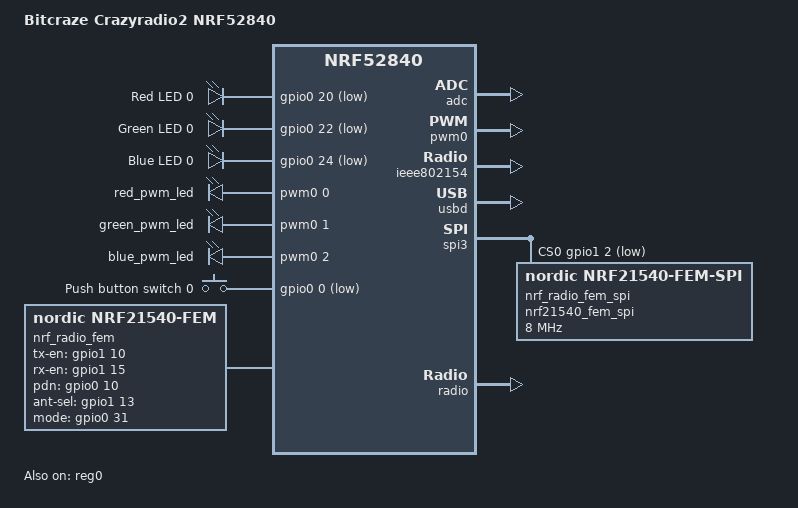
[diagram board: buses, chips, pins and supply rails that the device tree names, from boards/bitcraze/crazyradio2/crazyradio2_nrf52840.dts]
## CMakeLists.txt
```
cmake_minimum_required(VERSION 3.20.0)

list(APPEND BOARD_ROOT ${CMAKE_CURRENT_SOURCE_DIR}/)

find_package(Zephyr REQUIRED HINTS $ENV{ZEPHYR_BASE})
project(crazyradio2)

target_sources(app PRIVATE src/main.c src/esb.c src/led.c src/fem.c src/system.c src/legacy_usb.c)
```

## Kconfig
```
menu "Crazyradio 2.0 firmware"

config ESB_ACK_LOSS_PERCENT
   int "Percent of generated ack loss, between 0 and 100"
   range 0 100
   default 0

config TARGET_UF2_BOOTLOADER
   bool "Build U2F file and set proper linker setting to work with the UF2 bootloader"
   default false
   select BUILD_OUTPUT_UF2

config FLASH_LOAD_OFFSET
   default 0x27000 if TARGET_UF2_BOOTLOADER && SOC_NRF52833_QIAA
   default 0x26000 if TARGET_UF2_BOOTLOADER && SOC_NRF52840_QIAA

config USE_DCDC
   bool
   depends on SOC_DCDC_NRF52X

config LEGACY_USB_PROTOCOL
   bool "Use legacy, Crazyradio (PA), USB protocol"
   default y

config USB_DEVICE_VID
   default 0x1915 if LEGACY_USB_PROTOCOL
   default 0x35F0 if !LEGACY_USB_PROTOCOL

config USB_DEVICE_PID
   default 0x7777 if LEGACY_USB_PROTOCOL
   default 0xad20 if !LEGACU_USB_PROTOCOL

endmenu

source "Kconfig.zephyr"
```

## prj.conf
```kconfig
CONFIG_KERNEL_BIN_NAME="crazyradio2"

# Timers and ppi used by the radio
CONFIG_NRFX_PPI=y
CONFIG_NRFX_TIMER0=y
CONFIG_NRFX_TIMER1=y

# USB config
CONFIG_USB_DEVICE_STACK=y
CONFIG_USB_DEVICE_MANUFACTURER="Bitcraze AB"
CONFIG_USB_DEVICE_PRODUCT="Crazyradio 2.0"

# Log configuration
CONFIG_STDOUT_CONSOLE=y
CONFIG_LOG=y
CONFIG_LOG_DEFAULT_LEVEL=1
CONFIG_LOG_MAX_LEVEL=4
CONFIG_USB_DRIVER_LOG_LEVEL_ERR=y
CONFIG_USB_DEVICE_LOG_LEVEL_ERR=y

# RNG config
CONFIG_ENTROPY_GENERATOR=y
# CONFIG_XOROSHIRO_RANDOM_GENERATOR=y

CONFIG_CONSOLE=y

CONFIG_UART_CONSOLE=n
CONFIG_RTT_CONSOLE=y
CONFIG_USE_SEGGER_RTT=y

CONFIG_TARGET_UF2_BOOTLOADER=y

CONFIG_ADC=y
```

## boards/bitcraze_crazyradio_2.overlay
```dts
/*
 * SPDX-License-Identifier: Apache-2.0
 *
 * Copyright (c) 2022 Nordic Semiconductor ASA
 * Copyright (c) 2023 Bitcraze AB
 */


 / {
	zephyr,user {
		io-channels = <&adc 0>, <&adc 1>;
	};

	aliases {
		// io1 = &io1;
		io2 = &io2;
		io3 = &io3;
	};

	ios {
		compatible = "gpio-leds";
		// io1: io_1 {
		// 	gpios = <&gpio0 4 GPIO_ACTIVE_HIGH>;
		// 	label = "IO1";
		// };
		io2: io_2 {
			gpios = <&gpio0 26 GPIO_ACTIVE_HIGH>;
			label = "IO2";
		};
		io3: io_3 {
			gpios = <&gpio0 8 GPIO_ACTIVE_HIGH>;
			label = "IO3";
		};
	};
};

&adc {
	#address-cells = <1>;
	#size-cells = <0>;

	channel@0 {
		reg = <0>;
		zephyr,gain = "ADC_GAIN_1_6";
		zephyr,reference = "ADC_REF_INTERNAL";
		zephyr,acquisition-time = <ADC_ACQ_TIME_DEFAULT>;
		zephyr,input-positive = <NRF_SAADC_VDD>;
		zephyr,resolution = <14>;
		zephyr,oversampling = <8>;
	};

	channel@1 {
		reg = <1>;
		zephyr,gain = "ADC_GAIN_1_6";
		zephyr,reference = "ADC_REF_INTERNAL";
		zephyr,acquisition-time = <ADC_ACQ_TIME_DEFAULT>;
		zephyr,input-positive = <NRF_SAADC_AIN2>;  // P0.04
		zephyr,resolution = <14>;
		zephyr,oversampling = <8>;
	};
};
```

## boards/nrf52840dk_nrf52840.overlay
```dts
/*
 * SPDX-License-Identifier: Apache-2.0
 *
 * Copyright (c) 2022 Nordic Semiconductor ASA
 * Copyright (c) 2023 Bitcraze AB
 */


 / {
	zephyr,user {
		io-channels = <&adc 0>;
	};
};

&adc {
	#address-cells = <1>;
	#size-cells = <0>;

	channel@0 {
		reg = <0>;
		zephyr,gain = "ADC_GAIN_1_6";
		zephyr,reference = "ADC_REF_INTERNAL";
		zephyr,acquisition-time = <ADC_ACQ_TIME_DEFAULT>;
		zephyr,input-positive = <NRF_SAADC_VDD>;
		zephyr,resolution = <14>;
		zephyr,oversampling = <8>;
	};
};
```

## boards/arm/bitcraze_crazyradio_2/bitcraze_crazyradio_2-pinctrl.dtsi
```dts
/*
 * Copyright (c) 2022 Bitcraze AB
 * Copyright (c) 2022 Nordic Semiconductor
 * SPDX-License-Identifier: Apache-2.0
 */

&pinctrl {
	uart0_default: uart0_default {
		group1 {
			psels = <NRF_PSEL(UART_TX, 0, 4)>;
		};
		group2 {
			psels = <NRF_PSEL(UART_RX, 0, 26)>;
			bias-pull-up;
		};
	};

	uart0_sleep: uart0_sleep {
		group1 {
			psels = <NRF_PSEL(UART_TX, 0, 4)>,
				<NRF_PSEL(UART_RX, 0, 8)>;
			low-power-enable;
		};
	};

	spi3_default: spi3_default {
		group1 {
			psels = <NRF_PSEL(SPIM_SCK, 0, 9)>,
				<NRF_PSEL(SPIM_MISO, 1, 4)>,
				<NRF_PSEL(SPIM_MOSI, 1, 6)>;
		};
	};

	spi3_sleep: spi3_sleep {
		group1 {
			psels = <NRF_PSEL(SPIM_SCK, 0, 9)>,
				<NRF_PSEL(SPIM_MISO, 1, 4)>,
				<NRF_PSEL(SPIM_MOSI, 1, 6)>;
			low-power-enable;
		};
	};

};
```

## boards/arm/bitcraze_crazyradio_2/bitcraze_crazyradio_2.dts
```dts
/*
 * Copyright (c) 2022 Bitcraze AB
 * Copyright (c) 2020 Nordic Semiconductor ASA
 * Copyright (c) 2017 Linaro Limited
 *
 * SPDX-License-Identifier: Apache-2.0
 */

/dts-v1/;
#include <nordic/nrf52840_qiaa.dtsi>
#include "bitcraze_crazyradio_2-pinctrl.dtsi"

/ {
	model = "Bitcraze Crazyradio 2.0";
	compatible = "nordic,bitcraze_crazyradio_2";

	chosen {
		zephyr,console = &uart0;
		zephyr,shell-uart = &uart0;
		zephyr,uart-mcumgr = &uart0;
		zephyr,bt-mon-uart = &uart0;
		zephyr,bt-c2h-uart = &uart0;
		zephyr,sram = &sram0;
		zephyr,flash = &flash0;
		zephyr,code-partition = &slot0_partition;
		zephyr,ieee802154 = &ieee802154;
	};

	leds {
		compatible = "gpio-leds";
		led0: led_0 {
			gpios = <&gpio0 20 GPIO_ACTIVE_LOW>;
			label = "Red LED";
		};
		led1: led_1 {
			gpios = <&gpio0 22 GPIO_ACTIVE_LOW>;
			label = "Green LED";
		};
		led2: led_2 {
			gpios = <&gpio0 24 GPIO_ACTIVE_LOW>;
			label = "Blue LED";
		};
	};

	buttons {
		compatible = "gpio-keys";
		button0: button_0 {
			gpios = <&gpio0 0 (GPIO_PULL_UP | GPIO_ACTIVE_LOW)>;
			label = "Push button switch 0";
		};
	};

	nrf_radio_fem: nrf21540_fem {
		compatible = "nordic,nrf21540-fem";
		tx-en-gpios = <&gpio1 10 GPIO_ACTIVE_HIGH>;
		rx-en-gpios = <&gpio1 15 GPIO_ACTIVE_HIGH>;
		pdn-gpios = <&gpio0 10 GPIO_ACTIVE_HIGH>;
		ant-sel-gpios = <&gpio1 13 GPIO_ACTIVE_HIGH>;
		mode-gpios = <&gpio0 31 GPIO_ACTIVE_HIGH>;
		spi-if = <&nrf_radio_fem_spi>;
	};

	/* These aliases are provided for compatibility with samples */
	aliases {
		led0 = &led0;
		led1 = &led1;
		led2 = &led2;
		sw0 = &button0;
		bootloader-led0 = &led0;
		mcuboot-button0 = &button0;
		mcuboot-led0 = &led0;
		watchdog0 = &wdt0;
	};
};

&gpiote {
	status = "okay";
};

&gpio0 {
	status = "okay";
};

&gpio1 {
	status = "okay";
};

&uart0 {
	compatible = "nordic,nrf-uarte";
	// status = "okay";
	current-speed = <115200>;
	pinctrl-0 = <&uart0_default>;
	pinctrl-1 = <&uart0_sleep>;
	pinctrl-names = "default", "sleep";
};

fem_spi: &spi3 {
	status = "okay";
	cs-gpios = <&gpio1 2 GPIO_ACTIVE_LOW>;

	pinctrl-0 = <&spi3_default>;
	pinctrl-1 = <&spi3_sleep>;
	pinctrl-names = "default", "sleep";
	nrf_radio_fem_spi: nrf21540_fem_spi@0 {
		compatible = "nordic,nrf21540-fem-spi";
		status = "okay";
		reg = <0>;
		spi-max-frequency = <125000>;
	};
};

&radio {
	fem = <&nrf_radio_fem>;
};

&ieee802154 {
	status = "okay";
};

&flash0 {

	partitions {
		compatible = "fixed-partitions";
		#address-cells = <1>;
		#size-cells = <1>;

		boot_partition: partition@0 {
			label = "mcuboot";
			reg = <0x00000000 0x0000C000>;
		};
		slot0_partition: partition@c000 {
			label = "image-0";
			reg = <0x0000C000 0x00067000>;
		};
		slot1_partition: partition@73000 {
			label = "image-1";
			reg = <0x00073000 0x00067000>;
		};
		scratch_partition: partition@da000 {
			label = "image-scratch";
			reg = <0x000da000 0x0001e000>;
		};

		/*
		 * The flash starting at 0x000f8000 and ending at
		 * 0x000fffff is reserved for use by the application.
		 */

		/*
		 * Storage partition will be used by FCB/LittleFS/NVS
		 * if enabled.
		 */
		storage_partition: partition@f8000 {
			label = "storage";
			reg = <0x000f8000 0x00008000>;
		};
	};
};

zephyr_udc0: &usbd {
	compatible = "nordic,nrf-usbd";
	status = "okay";
};

&adc {
	status = "okay";
};
```

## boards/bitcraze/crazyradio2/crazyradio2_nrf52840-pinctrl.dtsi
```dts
/*
 * Copyright (c) 2025 Bitcraze AB
 *
 * SPDX-License-Identifier: Apache-2.0
 */

&pinctrl {
	pwm0_default: pwm0_default {
		group1 {
			psels = <NRF_PSEL(PWM_OUT0, 0, 20)>,
				<NRF_PSEL(PWM_OUT1, 0, 22)>,
				<NRF_PSEL(PWM_OUT2, 0, 24)>;
			nordic,invert;
		};
	};

	pwm0_sleep: pwm0_sleep {
		group1 {
			psels = <NRF_PSEL(PWM_OUT0, 0, 20)>,
				<NRF_PSEL(PWM_OUT1, 0, 22)>,
				<NRF_PSEL(PWM_OUT2, 0, 24)>;
			low-power-enable;
		};
	};

	spi3_default: spi3_default {
		group1 {
			psels = <NRF_PSEL(SPIM_SCK, 0, 9)>,
				<NRF_PSEL(SPIM_MISO, 1, 4)>,
				<NRF_PSEL(SPIM_MOSI, 1, 6)>;
		};
	};

	spi3_sleep: spi3_sleep {
		group1 {
			psels = <NRF_PSEL(SPIM_SCK, 0, 9)>,
				<NRF_PSEL(SPIM_MISO, 1, 4)>,
				<NRF_PSEL(SPIM_MOSI, 1, 6)>;
			low-power-enable;
		};
	};
};
```

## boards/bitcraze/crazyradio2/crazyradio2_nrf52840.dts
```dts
/*
 * Copyright (c) 2025 Bitcraze AB
 * Copyright (c) 2018-2023 Nordic Semiconductor ASA
 * Copyright (c) 2017 Linaro Limited
 *
 * SPDX-License-Identifier: Apache-2.0
 */
	
/dts-v1/;

/* Default priority of all the nRF peripheral's interrupt */
#define NRF_DEFAULT_IRQ_PRIORITY 4

#include <nordic/nrf52840_qiaa.dtsi>
#include "crazyradio2_nrf52840-pinctrl.dtsi"
#include <zephyr/dt-bindings/input/input-event-codes.h>

/ {
	model = "Bitcraze Crazyradio2 NRF52840";
	compatible = "bitcraze,crazyradio2-nrf52840";

	chosen {
		zephyr,sram = &sram0;
		zephyr,flash = &flash0;
		zephyr,code-partition = &firmware_partition;
		zephyr,ieee802154 = &ieee802154;
	};

	leds {
		compatible = "gpio-leds";

		led0_red: led_0 {
			gpios = <&gpio0 20 GPIO_ACTIVE_LOW>;
			label = "Red LED 0";
		};

		led0_green: led_1 {
			gpios = <&gpio0 22 GPIO_ACTIVE_LOW>;
			label = "Green LED 0";
		};

		led0_blue: led_2 {
			gpios = <&gpio0 24 GPIO_ACTIVE_LOW>;
			label = "Blue LED 0";
		};
	};

	pwmleds {
		compatible = "pwm-leds";

		red_pwm_led: pwm_led_0 {
			pwms = <&pwm0 0 PWM_MSEC(20) PWM_POLARITY_INVERTED>;
		};

		green_pwm_led: pwm_led_1 {
			pwms = <&pwm0 1 PWM_MSEC(20) PWM_POLARITY_INVERTED>;
		};

		blue_pwm_led: pwm_led_2 {
			pwms = <&pwm0 2 PWM_MSEC(20) PWM_POLARITY_INVERTED>;
		};
	};

	buttons {
		compatible = "gpio-keys";

		button0: button_0 {
			gpios = <&gpio0 0 (GPIO_PULL_UP | GPIO_ACTIVE_LOW)>;
			label = "Push button switch 0";
			zephyr,code = <INPUT_KEY_0>;
		};
	};

	nrf_radio_fem: nrf21540_fem {
		compatible = "nordic,nrf21540-fem";
		tx-en-gpios = <&gpio1 10 GPIO_ACTIVE_HIGH>;
		rx-en-gpios = <&gpio1 15 GPIO_ACTIVE_HIGH>;
		pdn-gpios = <&gpio0 10 GPIO_ACTIVE_HIGH>;
		ant-sel-gpios = <&gpio1 13 GPIO_ACTIVE_HIGH>;
		mode-gpios = <&gpio0 31 GPIO_ACTIVE_HIGH>;
		spi-if = <&nrf_radio_fem_spi>;
		supply-voltage-mv = <3150>;
	};

	/* These aliases are provided for compatibility with samples */
	aliases {
		sw0 = &button0;
		led0 = &led0_red;
		led1 = &led0_green;
		led2 = &led0_blue;
		pwm-led0 = &red_pwm_led;
		pwm-led1 = &green_pwm_led;
		pwm-led2 = &blue_pwm_led;
		red-pwm-led = &red_pwm_led;
		green-pwm-led = &green_pwm_led;
		blue-pwm-led = &blue_pwm_led;
		watchdog0 = &wdt0;
	};
};

&reg0 {
	status = "okay";
};

&reg1 {
	regulator-initial-mode = <NRF5X_REG_MODE_DCDC>;
};

&adc {
	status = "okay";
};

&gpiote {
	status = "okay";
};

&uicr {
	nfct-pins-as-gpios;
	gpio-as-nreset;
};

&gpio0 {
	status = "okay";
};

&gpio1 {
	status = "okay";
};

&pwm0 {
	status = "okay";
	pinctrl-0 = <&pwm0_default>;
	pinctrl-1 = <&pwm0_sleep>;
	pinctrl-names = "default", "sleep";
};

&ieee802154 {
	status = "okay";
};

/* Flash memory partitions
 * Crazyradio only uses 1 UF2 bootloader and one Application partition
 */
&flash0 {
	partitions {
		compatible = "fixed-partitions";
		#address-cells = <1>;
		#size-cells = <1>;

		/* Crazyradio UF2 Partition */
		boot_partition: partition@0 {
			label = "bootloader";
			reg = <0x00000000 0x00026000>;
		};

		firmware_partition: partition@26000 {
			label = "firmware";
			reg = <0x00026000 0x00d6000>;
		};

		storage_partition: partition@fc000 {
			label = "storage";
			reg = <0x000fc000 0x00004000>;
		};
	};
};

&clock {
    status = "okay";
};

zephyr_udc0: &usbd {
	compatible = "nordic,nrf-usbd";
	status = "okay";
};

fem_spi: &spi3 {
	status = "okay";
	cs-gpios = <&gpio1 2 GPIO_ACTIVE_LOW>;
	pinctrl-0 = <&spi3_default>;
	pinctrl-1 = <&spi3_sleep>;
	pinctrl-names = "default", "sleep";

	nrf_radio_fem_spi: nrf21540_fem_spi@0 {
		compatible = "nordic,nrf21540-fem-spi";
		status = "okay";
		reg = <0>;
		spi-max-frequency = <8000000>;
	};
};

&radio {
	fem = <&nrf_radio_fem>;
};


/* RTT console as default console */
/ {
	chosen {
		zephyr,console = &rtt0;
	};

	rtt0: rtt_chan0 {
		compatible = "segger,rtt-uart";
		status = "okay";
	};
};
```

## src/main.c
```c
/**
 * ,---------,       ____  _ __
 * |  ,-^-,  |      / __ )(_) /_______________ _____  ___
 * | (  O  ) |     / __  / / __/ ___/ ___/ __ `/_  / / _ \
 * | / ,--´  |    / /_/ / / /_/ /__/ /  / /_/ / / /_/  __/
 *    +------`   /_____/_/\__/\___/_/   \__,_/ /___/\___/
 *
 * Copyright 2023 Bitcraze AB
 *
 * Permission is hereby granted, free of charge, to any person obtaining a copy of this software and associated
 * documentation files (the "Software"), to deal in the Software without restriction, including without limitation the
 * rights to use, copy, modify, merge, publish, distribute, sublicense, and/or sell copies of the Software, and to
 * permit persons to whom the Software is furnished to do so, subject to the following conditions:
 *
 * The above copyright notice and this permission notice shall be included in all copies or substantial portions of the
 * Software.
 *
 * THE SOFTWARE IS PROVIDED "AS IS", WITHOUT WARRANTY OF ANY KIND, EXPRESS OR IMPLIED, INCLUDING BUT NOT LIMITED TO THE
 * WARRANTIES OF MERCHANTABILITY, FITNESS FOR A PARTICULAR PURPOSE AND NONINFRINGEMENT. IN NO EVENT SHALL THE AUTHORS OR
 * COPYRIGHT HOLDERS BE LIABLE FOR ANY CLAIM, DAMAGES OR OTHER LIABILITY, WHETHER IN AN ACTION OF CONTRACT, TORT OR
 * OTHERWISE, ARISING FROM, OUT OF OR IN CONNECTION WITH THE SOFTWARE OR THE USE OR OTHER DEALINGS IN THE SOFTWARE.
 */

#include <zephyr/kernel.h>

#include <zephyr/drivers/clock_control.h>
#include <zephyr/drivers/clock_control/nrf_clock_control.h>

#include <zephyr/sys/byteorder.h>
#include <zephyr/usb/usb_device.h>
#include <zephyr/usb/usb_ch9.h>

#include <app_version.h>

#include "led.h"
#include "fem.h"
#include "esb.h"

#include <nrfx_clock.h>

#include <zephyr/logging/log.h>
LOG_MODULE_REGISTER(main, LOG_LEVEL_INF);

/** USB Device release number (bcdDevice Descriptor field), set to firmware version */
#define USB_BCD_APP_DRN		(USB_DEC_TO_BCD(APP_VERSION_MAJOR) << 8 | \
				 USB_DEC_TO_BCD(APP_VERSION_MINOR))

static void set_usb_app_version(void);

static int startHFClock(void)
{
    nrfx_clock_hfclk_start();
	return 0;
}

int main(void)
{
    LOG_INF("Staring %s on target %s", CONFIG_KERNEL_BIN_NAME, CONFIG_BOARD_TARGET);
	LOG_INF("Firmware version: %s", APP_VERSION_STRING);

    // HFCLK crystal is needed by the radio and USB
    startHFClock();

    led_init();
	led_pulse_green(K_MSEC(500));
	led_pulse_red(K_MSEC(500));
	led_pulse_blue(K_MSEC(500));

	esb_init();

	fem_init();

	// Test the FEM
	LOG_DBG("Enabling TX");
	fem_txen_set(true);
	k_sleep(K_MSEC(10));
	bool enabled = fem_is_pa_enabled();
	LOG_DBG("PA enabled: %d", enabled);
	fem_txen_set(false);

	LOG_DBG("Enabling RX");
	fem_rxen_set(true);
	k_sleep(K_MSEC(10));
	enabled = fem_is_lna_enabled();
	LOG_DBG("LNA enabled: %d", enabled);
	fem_rxen_set(false);

	set_usb_app_version();
    
	// Initialize USB device stack
	int ret = usb_enable(NULL);
	if (ret != 0) {
		LOG_ERR("Failed to enable USB");
		return -1;
	}

	LOG_INF("Initialization done");

	while(1) {
		k_sleep(K_MSEC(1000));
	}

	return 0;
}

extern struct usb_desc_header __usb_descriptor_start[];

static void set_usb_app_version(void)
{
	struct usb_device_descriptor *dev_desc;
	const uint8_t *descriptors = (const uint8_t *)__usb_descriptor_start;

	dev_desc = (void *)descriptors;
	dev_desc->bcdDevice = sys_cpu_to_le16(USB_BCD_APP_DRN);
}
```

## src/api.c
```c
/**
 * ,---------,       ____  _ __
 * |  ,-^-,  |      / __ )(_) /_______________ _____  ___
 * | (  O  ) |     / __  / / __/ ___/ ___/ __ `/_  / / _ \
 * | / ,--´  |    / /_/ / / /_/ /__/ /  / /_/ / / /_/  __/
 *    +------`   /_____/_/\__/\___/_/   \__,_/ /___/\___/
 *
 * Copyright 2023 Bitcraze AB
 *
 * Permission is hereby granted, free of charge, to any person obtaining a copy of this software and associated
 * documentation files (the "Software"), to deal in the Software without restriction, including without limitation the
 * rights to use, copy, modify, merge, publish, distribute, sublicense, and/or sell copies of the Software, and to
 * permit persons to whom the Software is furnished to do so, subject to the following conditions:
 *
 * The above copyright notice and this permission notice shall be included in all copies or substantial portions of the
 * Software.
 *
 * THE SOFTWARE IS PROVIDED "AS IS", WITHOUT WARRANTY OF ANY KIND, EXPRESS OR IMPLIED, INCLUDING BUT NOT LIMITED TO THE
 * WARRANTIES OF MERCHANTABILITY, FITNESS FOR A PARTICULAR PURPOSE AND NONINFRINGEMENT. IN NO EVENT SHALL THE AUTHORS OR
 * COPYRIGHT HOLDERS BE LIABLE FOR ANY CLAIM, DAMAGES OR OTHER LIABILITY, WHETHER IN AN ACTION OF CONTRACT, TORT OR
 * OTHERWISE, ARISING FROM, OUT OF OR IN CONNECTION WITH THE SOFTWARE OR THE USE OR OTHER DEALINGS IN THE SOFTWARE.
 */

#include "api.h"

#include <zephyr/kernel.h>

#include "radio_mode.h"
#include "esb.h"
#include "contwave.h"
#include "power_measurement.h"
#include "led.h"
#include "button.h"
#include "system.h"

// Utility APIs

static void version(const rpc_request_t *request, rpc_response_t *response) {
	CborEncoder *result = rpc_response_prepare_result(response);

	CborEncoder version_encoder;
	cbor_encoder_create_map(result, &version_encoder, 1);

	cbor_encode_text_stringz(&version_encoder, "zephyr");
	CborEncoder zephyr_encoder;
	cbor_encoder_create_array(&version_encoder, &zephyr_encoder, 3);

	uint32_t zephyr_version = sys_kernel_version_get();
	cbor_encode_uint(&zephyr_encoder, SYS_KERNEL_VER_MAJOR(zephyr_version));
	cbor_encode_uint(&zephyr_encoder, SYS_KERNEL_VER_MINOR(zephyr_version));
	cbor_encode_uint(&zephyr_encoder, SYS_KERNEL_VER_PATCHLEVEL(zephyr_version));
	cbor_encoder_close_container(&version_encoder, &zephyr_encoder);

	cbor_encoder_close_container(result, &version_encoder);

	rpc_response_send(response);
}

#ifdef CONFIG_CBOR_API_NOTIFY_TEST
static void notify_example(const rpc_request_t *request) {
	;
}

static rpc_notification_t test_notification;
static char test_notification_buffer[RPC_MTU];

static void test_send_notification(const rpc_request_t *request, rpc_response_t *response) {
	rpc_response_create_notification(response, &test_notification, test_notification_buffer);

	// Return answer to this request
	rpc_response_send(response);

	// Later when a notification needs to be sent ...
	CborEncoder *param = rpc_notification_prepare_param(&test_notification, "testNotification");

	cbor_encode_text_stringz(param, "hello notification");

	rpc_notification_send(&test_notification);
}
#endif

// API definition

static rpc_method_t methods[] = {
	{.name = "version", .method = version },
#ifdef CONFIG_CBOR_API_NOTIFY_TEST
	{.name = "notify", .notify = notify_example},
	{.name = "testSendNotification", .method = test_send_notification},
#endif
    {.name = "radioMode.list", .method = radio_mode_list_rpc},
    {.name = "radioMode.get", .method = radio_mode_get_rpc},
    {.name = "radioMode.set", .method = radio_mode_set_rpc},
    {.name = "esb.sendPacket", .method = esb_send_packet_rpc},
	{.name = "contWave.start", .method = contwave_start_rpc},
	{.name = "contWave.stop", .method = contwave_stop_rpc},
	{.name = "powerMeasurement.measure_channel", .method = power_measurement_measure_channel_rpc},
	{.name = "led.set", .method = led_set_rpc},
	{.name = "button.get", .method = button_get_rpc},
	{.name = "system.get_vcc", .method = system_read_vcc_rpc},
	{.name = "system.test_ios", .method = system_test_ios_rpc},
};

rpc_api_t crazyradio2_rpc_api = {
	.methods = methods,
	.methods_length = sizeof(methods) / sizeof(methods[0]),
};
```

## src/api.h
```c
/**
 * ,---------,       ____  _ __
 * |  ,-^-,  |      / __ )(_) /_______________ _____  ___
 * | (  O  ) |     / __  / / __/ ___/ ___/ __ `/_  / / _ \
 * | / ,--´  |    / /_/ / / /_/ /__/ /  / /_/ / / /_/  __/
 *    +------`   /_____/_/\__/\___/_/   \__,_/ /___/\___/
 *
 * Copyright 2023 Bitcraze AB
 *
 * Permission is hereby granted, free of charge, to any person obtaining a copy of this software and associated
 * documentation files (the "Software"), to deal in the Software without restriction, including without limitation the
 * rights to use, copy, modify, merge, publish, distribute, sublicense, and/or sell copies of the Software, and to
 * permit persons to whom the Software is furnished to do so, subject to the following conditions:
 *
 * The above copyright notice and this permission notice shall be included in all copies or substantial portions of the
 * Software.
 *
 * THE SOFTWARE IS PROVIDED "AS IS", WITHOUT WARRANTY OF ANY KIND, EXPRESS OR IMPLIED, INCLUDING BUT NOT LIMITED TO THE
 * WARRANTIES OF MERCHANTABILITY, FITNESS FOR A PARTICULAR PURPOSE AND NONINFRINGEMENT. IN NO EVENT SHALL THE AUTHORS OR
 * COPYRIGHT HOLDERS BE LIABLE FOR ANY CLAIM, DAMAGES OR OTHER LIABILITY, WHETHER IN AN ACTION OF CONTRACT, TORT OR
 * OTHERWISE, ARISING FROM, OUT OF OR IN CONNECTION WITH THE SOFTWARE OR THE USE OR OTHER DEALINGS IN THE SOFTWARE.
 */

#pragma once

#include "rpc.h"

extern rpc_api_t crazyradio2_rpc_api;
```

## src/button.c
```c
/**
 * ,---------,       ____  _ __
 * |  ,-^-,  |      / __ )(_) /_______________ _____  ___
 * | (  O  ) |     / __  / / __/ ___/ ___/ __ `/_  / / _ \
 * | / ,--´  |    / /_/ / / /_/ /__/ /  / /_/ / / /_/  __/
 *    +------`   /_____/_/\__/\___/_/   \__,_/ /___/\___/
 *
 * Copyright 2023 Bitcraze AB
 *
 * Permission is hereby granted, free of charge, to any person obtaining a copy of this software and associated
 * documentation files (the "Software"), to deal in the Software without restriction, including without limitation the
 * rights to use, copy, modify, merge, publish, distribute, sublicense, and/or sell copies of the Software, and to
 * permit persons to whom the Software is furnished to do so, subject to the following conditions:
 *
 * The above copyright notice and this permission notice shall be included in all copies or substantial portions of the
 * Software.
 *
 * THE SOFTWARE IS PROVIDED "AS IS", WITHOUT WARRANTY OF ANY KIND, EXPRESS OR IMPLIED, INCLUDING BUT NOT LIMITED TO THE
 * WARRANTIES OF MERCHANTABILITY, FITNESS FOR A PARTICULAR PURPOSE AND NONINFRINGEMENT. IN NO EVENT SHALL THE AUTHORS OR
 * COPYRIGHT HOLDERS BE LIABLE FOR ANY CLAIM, DAMAGES OR OTHER LIABILITY, WHETHER IN AN ACTION OF CONTRACT, TORT OR
 * OTHERWISE, ARISING FROM, OUT OF OR IN CONNECTION WITH THE SOFTWARE OR THE USE OR OTHER DEALINGS IN THE SOFTWARE.
 */

#include "button.h"

#include <zephyr/kernel.h>
#include <zephyr/device.h>
#include <zephyr/devicetree.h>
#include <zephyr/drivers/gpio.h>

#define BUTTON_NODE DT_ALIAS(sw0)

static const struct gpio_dt_spec button = GPIO_DT_SPEC_GET(BUTTON_NODE, gpios);

void button_init(void)
{
    gpio_pin_configure_dt(&button, GPIO_INPUT | GPIO_PULL_UP | GPIO_ACTIVE_LOW);
}

void button_get_rpc(const rpc_request_t *request, rpc_response_t *response)
{
    int state = gpio_pin_get_dt(&button);

    rpc_response_prepare_result(response);

    cbor_encode_boolean(&response->encoder, state);

    rpc_response_send(response);
}
```

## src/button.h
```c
/**
 * ,---------,       ____  _ __
 * |  ,-^-,  |      / __ )(_) /_______________ _____  ___
 * | (  O  ) |     / __  / / __/ ___/ ___/ __ `/_  / / _ \
 * | / ,--´  |    / /_/ / / /_/ /__/ /  / /_/ / / /_/  __/
 *    +------`   /_____/_/\__/\___/_/   \__,_/ /___/\___/
 *
 * Copyright 2023 Bitcraze AB
 *
 * Permission is hereby granted, free of charge, to any person obtaining a copy of this software and associated
 * documentation files (the "Software"), to deal in the Software without restriction, including without limitation the
 * rights to use, copy, modify, merge, publish, distribute, sublicense, and/or sell copies of the Software, and to
 * permit persons to whom the Software is furnished to do so, subject to the following conditions:
 *
 * The above copyright notice and this permission notice shall be included in all copies or substantial portions of the
 * Software.
 *
 * THE SOFTWARE IS PROVIDED "AS IS", WITHOUT WARRANTY OF ANY KIND, EXPRESS OR IMPLIED, INCLUDING BUT NOT LIMITED TO THE
 * WARRANTIES OF MERCHANTABILITY, FITNESS FOR A PARTICULAR PURPOSE AND NONINFRINGEMENT. IN NO EVENT SHALL THE AUTHORS OR
 * COPYRIGHT HOLDERS BE LIABLE FOR ANY CLAIM, DAMAGES OR OTHER LIABILITY, WHETHER IN AN ACTION OF CONTRACT, TORT OR
 * OTHERWISE, ARISING FROM, OUT OF OR IN CONNECTION WITH THE SOFTWARE OR THE USE OR OTHER DEALINGS IN THE SOFTWARE.
 */

#pragma once

#include "rpc.h"

void button_init();

void button_get_rpc(const rpc_request_t *request, rpc_response_t *response);
```

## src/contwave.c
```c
/**
 * ,---------,       ____  _ __
 * |  ,-^-,  |      / __ )(_) /_______________ _____  ___
 * | (  O  ) |     / __  / / __/ ___/ ___/ __ `/_  / / _ \
 * | / ,--´  |    / /_/ / / /_/ /__/ /  / /_/ / / /_/  __/
 *    +------`   /_____/_/\__/\___/_/   \__,_/ /___/\___/
 *
 * Copyright 2023 Bitcraze AB
 *
 * Permission is hereby granted, free of charge, to any person obtaining a copy of this software and associated
 * documentation files (the "Software"), to deal in the Software without restriction, including without limitation the
 * rights to use, copy, modify, merge, publish, distribute, sublicense, and/or sell copies of the Software, and to
 * permit persons to whom the Software is furnished to do so, subject to the following conditions:
 *
 * The above copyright notice and this permission notice shall be included in all copies or substantial portions of the
 * Software.
 *
 * THE SOFTWARE IS PROVIDED "AS IS", WITHOUT WARRANTY OF ANY KIND, EXPRESS OR IMPLIED, INCLUDING BUT NOT LIMITED TO THE
 * WARRANTIES OF MERCHANTABILITY, FITNESS FOR A PARTICULAR PURPOSE AND NONINFRINGEMENT. IN NO EVENT SHALL THE AUTHORS OR
 * COPYRIGHT HOLDERS BE LIABLE FOR ANY CLAIM, DAMAGES OR OTHER LIABILITY, WHETHER IN AN ACTION OF CONTRACT, TORT OR
 * OTHERWISE, ARISING FROM, OUT OF OR IN CONNECTION WITH THE SOFTWARE OR THE USE OR OTHER DEALINGS IN THE SOFTWARE.
 */

#include "contwave.h"

#include <hal/nrf_radio.h>
#include "fem.h"

static bool is_init = false;

void contwave_init() {
    if (is_init) {
        return;
    }

    nrf_radio_mode_set(NRF_RADIO, NRF_RADIO_MODE_NRF_2MBIT);
    nrf_radio_txpower_set(NRF_RADIO, NRF_RADIO_TXPOWER_POS4DBM);

    is_init = true;
}

void contwave_deinit() {
    if (is_init) {
        is_init = false;
    }
}
```

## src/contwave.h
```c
/**
 * ,---------,       ____  _ __
 * |  ,-^-,  |      / __ )(_) /_______________ _____  ___
 * | (  O  ) |     / __  / / __/ ___/ ___/ __ `/_  / / _ \
 * | / ,--´  |    / /_/ / / /_/ /__/ /  / /_/ / / /_/  __/
 *    +------`   /_____/_/\__/\___/_/   \__,_/ /___/\___/
 *
 * Copyright 2023 Bitcraze AB
 *
 * Permission is hereby granted, free of charge, to any person obtaining a copy of this software and associated
 * documentation files (the "Software"), to deal in the Software without restriction, including without limitation the
 * rights to use, copy, modify, merge, publish, distribute, sublicense, and/or sell copies of the Software, and to
 * permit persons to whom the Software is furnished to do so, subject to the following conditions:
 *
 * The above copyright notice and this permission notice shall be included in all copies or substantial portions of the
 * Software.
 *
 * THE SOFTWARE IS PROVIDED "AS IS", WITHOUT WARRANTY OF ANY KIND, EXPRESS OR IMPLIED, INCLUDING BUT NOT LIMITED TO THE
 * WARRANTIES OF MERCHANTABILITY, FITNESS FOR A PARTICULAR PURPOSE AND NONINFRINGEMENT. IN NO EVENT SHALL THE AUTHORS OR
 * COPYRIGHT HOLDERS BE LIABLE FOR ANY CLAIM, DAMAGES OR OTHER LIABILITY, WHETHER IN AN ACTION OF CONTRACT, TORT OR
 * OTHERWISE, ARISING FROM, OUT OF OR IN CONNECTION WITH THE SOFTWARE OR THE USE OR OTHER DEALINGS IN THE SOFTWARE.
 */

#pragma once


void contwave_init();
void contwave_deinit();
```

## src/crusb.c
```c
#include <autoconf.h>
#ifndef CONFIG_LEGACY_USB_PROTOCOL

/**
 * ,---------,       ____  _ __
 * |  ,-^-,  |      / __ )(_) /_______________ _____  ___
 * | (  O  ) |     / __  / / __/ ___/ ___/ __ `/_  / / _ \
 * | / ,--´  |    / /_/ / / /_/ /__/ /  / /_/ / / /_/  __/
 *    +------`   /_____/_/\__/\___/_/   \__,_/ /___/\___/
 *
 * Copyright 2023 Bitcraze AB
 *
 * Permission is hereby granted, free of charge, to any person obtaining a copy of this software and associated
 * documentation files (the "Software"), to deal in the Software without restriction, including without limitation the
 * rights to use, copy, modify, merge, publish, distribute, sublicense, and/or sell copies of the Software, and to
 * permit persons to whom the Software is furnished to do so, subject to the following conditions:
 *
 * The above copyright notice and this permission notice shall be included in all copies or substantial portions of the
 * Software.
 *
 * THE SOFTWARE IS PROVIDED "AS IS", WITHOUT WARRANTY OF ANY KIND, EXPRESS OR IMPLIED, INCLUDING BUT NOT LIMITED TO THE
 * WARRANTIES OF MERCHANTABILITY, FITNESS FOR A PARTICULAR PURPOSE AND NONINFRINGEMENT. IN NO EVENT SHALL THE AUTHORS OR
 * COPYRIGHT HOLDERS BE LIABLE FOR ANY CLAIM, DAMAGES OR OTHER LIABILITY, WHETHER IN AN ACTION OF CONTRACT, TORT OR
 * OTHERWISE, ARISING FROM, OUT OF OR IN CONNECTION WITH THE SOFTWARE OR THE USE OR OTHER DEALINGS IN THE SOFTWARE.
 */

#include <zephyr/kernel.h>

#include <zephyr/sys/byteorder.h>
#include <zephyr/usb/usb_ch9.h>
#include <zephyr/usb/usb_device.h>
#include <zephyr/usb/bos.h>

#include "crusb.h"

#include <zephyr/logging/log.h>
LOG_MODULE_REGISTER(usb);

// Vendor requests
#define CRUSB_VERSION_REQUEST (0)


// MS OS 1.0 descriptors to automatically install WinUSB on Windows
static const uint8_t msos1_compatid_descriptor[] = {
	/* See https://github.com/pbatard/libwdi/wiki/WCID-Devices */
	/* MS OS 1.0 header section */
	0x28, 0x00, 0x00, 0x00, /* Descriptor size (40 bytes)          */
	0x00, 0x01,             /* Version 1.00                        */
	0x04, 0x00,             /* Type: Extended compat ID descriptor */
	0x01,                   /* Number of function sections         */
	0x00, 0x00, 0x00, 0x00, 0x00, 0x00, 0x00,       /* reserved    */

	/* MS OS 1.0 function section */
	0x02,     /* Index of interface this section applies to. */
	0x01,     /* reserved */
	/* 8-byte compatible ID string, then 8-byte sub-compatible ID string */
	'W',  'I',  'N',  'U',  'S',  'B',  0x00, 0x00,
	0x00, 0x00, 0x00, 0x00, 0x00, 0x00, 0x00, 0x00,
	0x00, 0x00, 0x00, 0x00, 0x00, 0x00 /* reserved */
};

#define MSOS_STRING_LENGTH	18
static struct string_desc {
	uint8_t bLength;
	uint8_t bDescriptorType;
	uint8_t bString[MSOS_STRING_LENGTH];

} __packed msos1_string_descriptor = {
	.bLength = MSOS_STRING_LENGTH,
	.bDescriptorType = USB_DESC_STRING,
	/* Signature MSFT100 */
	.bString = {
		'M', 0x00, 'S', 0x00, 'F', 0x00, 'T', 0x00,
		'1', 0x00, '0', 0x00, '0', 0x00,
		0x03, /* Vendor Code, used for a control request */
		0x00, /* Padding byte for VendorCode looks like UTF16 */
	},
};

// Message queues
K_MSGQ_DEFINE(tx_queue, sizeof(struct crusb_message), 5, 4);
K_MSGQ_DEFINE(rx_queue, sizeof(struct crusb_message), 5, 4);

// Semaphores
K_SEM_DEFINE(tx_sem, 0, 1);

// Threads
static void tx_thread(void*, void*, void*);
#define TX_THREAD_PRIORITY 2
#define TX_THREAD_STACK_SIZE 500

K_THREAD_DEFINE(my_tid, TX_THREAD_STACK_SIZE,
                tx_thread, NULL, NULL, NULL,
                TX_THREAD_PRIORITY, 0, 0);


struct usb_crazyradio_config {
	struct usb_if_descriptor if0;
	struct usb_ep_descriptor if0_out_ep;
	struct usb_ep_descriptor if0_in_ep;
} __packed;

#define CRAZYRADIO_OUT_EP_ADDR 0x01
#define CRAZYRADIO_IN_EP_ADDR 0x81
#define CONFIG_CRAZYRADIO_BULK_EP_MPS 64

USBD_CLASS_DESCR_DEFINE(primary, 0) struct usb_crazyradio_config crazyradio_cfg = {
	/* Interface descriptor 0 */
	.if0 = {
		.bLength = sizeof(struct usb_if_descriptor),
		.bDescriptorType = USB_DESC_INTERFACE,
		.bInterfaceNumber = 0,
		.bAlternateSetting = 0,
		.bNumEndpoints = 2,
		.bInterfaceClass = USB_BCC_VENDOR,
		.bInterfaceSubClass = 0,
		.bInterfaceProtocol = 0,
		.iInterface = 0,
	},

	/* Data Endpoint OUT */
	.if0_out_ep = {
		.bLength = sizeof(struct usb_ep_descriptor),
		.bDescriptorType = USB_DESC_ENDPOINT,
		.bEndpointAddress = CRAZYRADIO_OUT_EP_ADDR,
		.bmAttributes = USB_DC_EP_BULK,
		.wMaxPacketSize = sys_cpu_to_le16(CONFIG_CRAZYRADIO_BULK_EP_MPS),
		.bInterval = 0x00,
	},

	/* Data Endpoint IN */
	.if0_in_ep = {
		.bLength = sizeof(struct usb_ep_descriptor),
		.bDescriptorType = USB_DESC_ENDPOINT,
		.bEndpointAddress = CRAZYRADIO_IN_EP_ADDR,
		.bmAttributes = USB_DC_EP_BULK,
		.wMaxPacketSize = sys_cpu_to_le16(CONFIG_CRAZYRADIO_BULK_EP_MPS),
		.bInterval = 0x00,
	},
};

// The out callback perform packet assembly from the packet stream.
// Every packet (messages) come as a 10 bit length followed by the data.
void crazyradio_out_cb(uint8_t ep, enum usb_dc_ep_cb_status_code cb_status)
{
	// State of the packet receiving FSM
	static enum {state_len0, state_len1, state_data} state = state_len0;
	// Number of data bytes already read when in data state
	static int data_bytes_read;
	static struct crusb_message message;

	uint32_t usb_data_left;
	usb_read(ep, NULL, 0, &usb_data_left);

	LOG_DBG("%d USB bytes available", usb_data_left);

	// Reset the state machine on receiving a 0 length packet
	if (usb_data_left == 0) {
		LOG_DBG("Reseting RX FSM");
		// A dummy read is required
		usb_read(ep, message.data, 64, NULL);
		state = state_len0;
		return;
	}

	while (usb_data_left > 0) {
		LOG_DBG("State: %s (%d, %d)", ((state==state_len0)?"len0":((state==state_len1)?"len1":"data")), message.length, data_bytes_read);

		switch (state) {
			case state_len0:
				message.length = 0;
				data_bytes_read = 0;

				char len0 = 0;
				usb_read(ep, &len0, 1, NULL);
				usb_data_left --;

				message.length |= (uint16_t)len0;

				state = state_len1;
				break;
			case state_len1: {
				char len1 = 0;
				usb_read(ep, &len1, 1, NULL);
				usb_data_left --;

				message.length |= ((uint16_t)len1) << 8;
				message.length &= 0x03FF;  // Limit the length to 10 bits, this guarantee we are within USB_MTU

				state = state_data;
			}
				if (message.length > 0) {
					break;
				}
			case state_data: {
				int to_read = MIN(message.length - data_bytes_read, usb_data_left);

				if (to_read > 0) {
					usb_read(ep, &message.data[data_bytes_read], to_read, NULL);
					usb_data_left -= to_read;
					data_bytes_read += to_read;
				}

				if (data_bytes_read == message.length) {
					LOG_DBG("Application packet of %d bytes received!", message.length);

					// We can block as long as required here, this implements flow control
					// This means that the rx_queue must be emptied otherwise it will freeze communication
					// TODO: See if a long timeout+assert is better here.
					k_msgq_put(&rx_queue, &message, K_FOREVER);

					// After the data, comes the length of the next message
					state = state_len0;
				} // Else, there is more data to receive in the next USB packet ...
			}
				break;
			default:
				__ASSERT(0, "USB OUT decoding invalid state")
		}
	}
}

void crazyradio_in_cb(uint8_t ep, enum usb_dc_ep_cb_status_code cb_status)
{
	LOG_DBG("In callback for EP %x", ep);
	k_sem_give(&tx_sem);
}

static void tx_thread(void* p1, void* p2, void* p3) {
	static struct crusb_message message = {0,};
	static char usb_buffer[CONFIG_CRAZYRADIO_BULK_EP_MPS];
	int usb_buffer_len = 0;
	enum {state_len0, state_len1, state_data} state = state_len0;
	int sent_message_bytes = 0;
	bool done = false;

	LOG_DBG("Starting CRUSB TX task");

	while (1) {
		if (state == state_len0) {
			k_msgq_get(&tx_queue, &message, K_FOREVER);
			sent_message_bytes = 0;
		}

		done = false;
		while (usb_buffer_len < CONFIG_CRAZYRADIO_BULK_EP_MPS && !done) {
			switch (state) {
			case state_len0:
				usb_buffer[usb_buffer_len] = message.length & 0x0ff;
				usb_buffer_len ++;
				state = state_len1;
				break;
			case state_len1:
				usb_buffer[usb_buffer_len] = (message.length >> 8) & 0x0ff;
				usb_buffer_len ++;
				state = state_data;
				break;
			case state_data: {
				int to_send = MIN(message.length - sent_message_bytes, CONFIG_CRAZYRADIO_BULK_EP_MPS - usb_buffer_len);
				memcpy(&usb_buffer[usb_buffer_len], &message.data[sent_message_bytes], to_send);
				usb_buffer_len += to_send;
				sent_message_bytes += to_send;

				// Test if this is the end of the message!
				if (sent_message_bytes == message.length) {
					state = state_len0;

					// Check that we can send another queued message in the same packet
					if (usb_buffer_len < CONFIG_CRAZYRADIO_BULK_EP_MPS && k_msgq_get(&tx_queue, &message, K_NO_WAIT) == 0) {
						sent_message_bytes = 0;
					} else {
						// Otherwise, the loop will end and send what we have so far
						done = true;
					}
				} else {
					// Else, the packet will be sent and we will pack the rest in the next packet
					done = true;
				}
			}
			default:
				__ASSERT(0, "USB IN encoding invalid state")
			}
		}

		LOG_DBG("Sending a %d bytes packet", usb_buffer_len);
		usb_write(CRAZYRADIO_IN_EP_ADDR, usb_buffer, usb_buffer_len, NULL);
		// Wait for the packet to be sent ...
		// TODO: it might improve performance to wait before writing and so to
		// have a full new packet prepared before the next write.
		k_sem_take(&tx_sem, K_FOREVER);

		// If the buffer was exactly as large as the USB max packet size while there is no more message in queue
		// This unlock the receiver to make sure it does not timeout waiting for more data
		if (usb_buffer_len == CONFIG_CRAZYRADIO_BULK_EP_MPS && state == state_len0 && k_msgq_num_used_get(&tx_queue) == 0) {
			LOG_DBG("Sending a %d bytes packet", 0);
			usb_write(CRAZYRADIO_IN_EP_ADDR, usb_buffer, 0, NULL);
			k_sem_take(&tx_sem, K_FOREVER);
		}
		usb_buffer_len = 0;
	}
}

static struct usb_ep_cfg_data ep_cfg[] = {
	{
		.ep_cb = crazyradio_out_cb,
		.ep_addr = CRAZYRADIO_OUT_EP_ADDR,
	},
	{
		.ep_cb = crazyradio_in_cb,
		.ep_addr = CRAZYRADIO_IN_EP_ADDR,
	},
};

static int crazyradio_vendor_handler(struct usb_setup_packet *setup,
				   int32_t *len, uint8_t **data)
{
	if (setup->RequestType.recipient == USB_REQTYPE_RECIPIENT_INTERFACE
	    && setup->RequestType.direction == USB_REQTYPE_DIR_TO_HOST
		&& setup->bRequest == CRUSB_VERSION_REQUEST) {

		*len = setup->wLength;
		*data[0] = CRUSB_VERSION;
		return 0;
	}  else if (setup->bRequest == 0x03 && setup->wIndex == 0x04) {
		/* Get MS OS 1.0 Descriptors request */
		/* 0x04 means "Extended compat ID".
		 * Use 0x05 instead for "Extended properties".
		 */
		*data = (uint8_t *)(&msos1_compatid_descriptor);
		*len = sizeof(msos1_compatid_descriptor);

		LOG_DBG("Get MS OS Descriptors CompatibleID");

		return 0;
	}

	return -ENOTSUP;
}

int custom_handle_req(struct usb_setup_packet *pSetup,
		      int32_t *len, uint8_t **data)
{
	if (usb_reqtype_is_to_device(pSetup)) {
		return -ENOTSUP;
	}

	if (USB_GET_DESCRIPTOR_TYPE(pSetup->wValue) == USB_DESC_STRING &&
	    USB_GET_DESCRIPTOR_INDEX(pSetup->wValue) == 0xEE) {
		*data = (uint8_t *)(&msos1_string_descriptor);
		*len = sizeof(msos1_string_descriptor);

		LOG_DBG("Get MS OS Descriptor v1 string");

		return 0;
	}

	return -EINVAL;
}

void crazyradio_status_cb(struct usb_cfg_data * data, enum usb_dc_status_code cb_status, const uint8_t *param)
{
	;
}

void crazyradio_interface_config(struct usb_desc_header *head, uint8_t bInterfaceNumber)
{
	;
}

USBD_DEFINE_CFG_DATA(crazyradio) = {
	.usb_device_description = NULL,
	.interface_config = crazyradio_interface_config,
	.interface_descriptor = &crazyradio_cfg.if0,
	.cb_usb_status = crazyradio_status_cb,
	.interface = {
		.class_handler = NULL,
		.custom_handler = custom_handle_req,
		.vendor_handler = crazyradio_vendor_handler,
	},
	.num_endpoints = ARRAY_SIZE(ep_cfg),
	.endpoint = ep_cfg,
};

// ****************** Public API *****************

void crusb_send(const struct crusb_message *message) {
	k_msgq_put(&tx_queue, message, K_FOREVER);
}

void crusb_receive(struct crusb_message *message) {
	k_msgq_get(&rx_queue, message, K_FOREVER);
}

#endif
```

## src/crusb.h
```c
/**
 * ,---------,       ____  _ __
 * |  ,-^-,  |      / __ )(_) /_______________ _____  ___
 * | (  O  ) |     / __  / / __/ ___/ ___/ __ `/_  / / _ \
 * | / ,--´  |    / /_/ / / /_/ /__/ /  / /_/ / / /_/  __/
 *    +------`   /_____/_/\__/\___/_/   \__,_/ /___/\___/
 *
 * Copyright 2023 Bitcraze AB
 *
 * Permission is hereby granted, free of charge, to any person obtaining a copy of this software and associated
 * documentation files (the "Software"), to deal in the Software without restriction, including without limitation the
 * rights to use, copy, modify, merge, publish, distribute, sublicense, and/or sell copies of the Software, and to
 * permit persons to whom the Software is furnished to do so, subject to the following conditions:
 *
 * The above copyright notice and this permission notice shall be included in all copies or substantial portions of the
 * Software.
 *
 * THE SOFTWARE IS PROVIDED "AS IS", WITHOUT WARRANTY OF ANY KIND, EXPRESS OR IMPLIED, INCLUDING BUT NOT LIMITED TO THE
 * WARRANTIES OF MERCHANTABILITY, FITNESS FOR A PARTICULAR PURPOSE AND NONINFRINGEMENT. IN NO EVENT SHALL THE AUTHORS OR
 * COPYRIGHT HOLDERS BE LIABLE FOR ANY CLAIM, DAMAGES OR OTHER LIABILITY, WHETHER IN AN ACTION OF CONTRACT, TORT OR
 * OTHERWISE, ARISING FROM, OUT OF OR IN CONNECTION WITH THE SOFTWARE OR THE USE OR OTHER DEALINGS IN THE SOFTWARE.
 */

#pragma once

#define USB_MTU (1023)
#define CRUSB_VERSION (0)

struct crusb_message {
    int length;
    char data[USB_MTU];
};

void crusb_init();

void crusb_send(const struct crusb_message *message);

void crusb_receive(struct crusb_message *message);
```

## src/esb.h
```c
/**
 * ,---------,       ____  _ __
 * |  ,-^-,  |      / __ )(_) /_______________ _____  ___
 * | (  O  ) |     / __  / / __/ ___/ ___/ __ `/_  / / _ \
 * | / ,--´  |    / /_/ / / /_/ /__/ /  / /_/ / / /_/  __/
 *    +------`   /_____/_/\__/\___/_/   \__,_/ /___/\___/
 *
 * Copyright 2023 Bitcraze AB
 *
 * Permission is hereby granted, free of charge, to any person obtaining a copy of this software and associated
 * documentation files (the "Software"), to deal in the Software without restriction, including without limitation the
 * rights to use, copy, modify, merge, publish, distribute, sublicense, and/or sell copies of the Software, and to
 * permit persons to whom the Software is furnished to do so, subject to the following conditions:
 *
 * The above copyright notice and this permission notice shall be included in all copies or substantial portions of the
 * Software.
 *
 * THE SOFTWARE IS PROVIDED "AS IS", WITHOUT WARRANTY OF ANY KIND, EXPRESS OR IMPLIED, INCLUDING BUT NOT LIMITED TO THE
 * WARRANTIES OF MERCHANTABILITY, FITNESS FOR A PARTICULAR PURPOSE AND NONINFRINGEMENT. IN NO EVENT SHALL THE AUTHORS OR
 * COPYRIGHT HOLDERS BE LIABLE FOR ANY CLAIM, DAMAGES OR OTHER LIABILITY, WHETHER IN AN ACTION OF CONTRACT, TORT OR
 * OTHERWISE, ARISING FROM, OUT OF OR IN CONNECTION WITH THE SOFTWARE OR THE USE OR OTHER DEALINGS IN THE SOFTWARE.
 */

#pragma once
#include <stdint.h>
#include <stdbool.h>

#define ESB_MAX_PAYLOAD_LENGTH 63

typedef enum {
    esbTestModeIdle = 0,
    esbTestModeUnmodulatedCarrier = 1,
    esbTestModeModulatedCarrier1M = 2,
    esbTestModeModulatedCarrier2M = 3,
} esbTestMode_t;

struct esbTestState_s {
    uint8_t mode;
    uint8_t channel;
    uint8_t nrf_tx_power;
    uint8_t pa_power;
} __attribute__((packed));

bool esb_is_valid_nrf_tx_power(uint8_t raw_power);
bool esb_test_mode_is_active(void);
bool esb_set_test_mode(esbTestMode_t mode);
bool esb_set_test_nrf_tx_power(uint8_t raw_power);
bool esb_set_test_pa_power(uint8_t power);
void esb_get_test_state(struct esbTestState_s *test_state);

void esb_init();
void esb_deinit();

/**
 * @brief Set the radio channel to be used for the next communications
 * 
 * The radio frequency will be 2400MHz + \p channel
 * 
 * @param channel A channel from 0 to 100
 */
void esb_set_channel(uint16_t channel);

/**
 * @brief Possible radio bitrate
 */
typedef enum {
    radioBitrate1M,
    radioBitrate2M
} esbBitrate_t;

/**
 * @brief Set the number of retries if no ack has been received
 * @param value Number of retries
 * 
 * @note This also affects no-ack (ie. broadcast) packets: no-ack packet will always be sent "arc" times in a row
 */
void esb_set_arc(int value);

/**
 * @brief Set if an ack will be received or not
 * @param enabled True to receive an ack after sending a packet. False to just send.
 * 
 * Setting ack_enabled to false is usually done to send broadcast packets
 */
void esb_set_ack_enabled(bool enabled);

/**
 * @brief Set the radio bitrate for the next communications
 * @param bitrate The bitrate to set
 */
void esb_set_bitrate(esbBitrate_t bitrate);

/**
 * @brief Set the radio address
 * @param address Radio address
 */
void esb_set_address(uint8_t address[5]);

/**
 * @brief ESB radio packet
 * 
 * This structure is a packed structure that contains all data that can be read and written
 * by the nRF radio hardware. The field \a s1 will be filled up by the esb_send_packet() function.
 */
struct esbPacket_s {
    uint8_t length;
    uint8_t s1;
    char data[ESB_MAX_PAYLOAD_LENGTH];
} __attribute__((packed));

/**
 * Send a packet and wait for and receive an acknowledgement
 * 
 * @param packet ESB packet to send
 * @param ack Structure that will be filled up with the ESB ack packet
 * @param rssi Pointer to a u8 that will be filled up with the ACK RSSI
 * @param retry Number of retries required to receive an ack
 * 
 * @return true if an ack has been properly received, false otherwise. the parameters
 *         ack and rssi are only filled up if an ack has been received.
 * 
 * @note This function will always return false if ack_enabled has been set to false.
*/
bool esb_send_packet(struct esbPacket_s *packet, struct esbPacket_s * ack, uint8_t *rssi, uint8_t *retry);

/**
 * @brief Enable or disable continuous carrier mode
 * 
 * When continuous carrier mode is enabled, the radio will transmit a continuous
 * unmodulated carrier wave on the set channel. This is useful for testing
 * purposes, such as measuring output power or spectrum analysis.
 * 
 * @param enable true to enable continuous carrier mode, false to disable it
 * @return true if the operation was successful, false otherwise
 */
bool esb_set_continuous_carrier(bool enable);

/**
 * @brief Set packet loss simulation parameters
 * 
 * This function allows to simulate packet loss for testing purposes.
 * 
 * @param packet_loss_percent Percentage of packets to drop (0-100)
 * @param ack_loss_percent Percentage of acks to drop (0-100)
 */
void esb_set_packet_loss_simulation(uint8_t packet_loss_percent, uint8_t ack_loss_percent);

/**
 * @brief Sniffer received packet structure
 */
struct esbSnifferPacket_s {
    uint8_t length;
    uint8_t rssi;
    uint8_t pipe;
    uint32_t timestamp_us;
    uint8_t data[ESB_MAX_PAYLOAD_LENGTH];
};

/**
 * @brief Callback type for sniffer received packets (called from ISR context)
 */
typedef void (*esb_sniffer_rx_cb_t)(const struct esbSnifferPacket_s *packet);

/**
 * @brief Start sniffer mode (continuous RX on pipes 0 and 1)
 * @param cb Callback invoked from ISR for each received packet
 */
void esb_sniffer_start(esb_sniffer_rx_cb_t cb);

/**
 * @brief Stop sniffer mode and return radio to idle
 */
void esb_sniffer_stop(void);

/**
 * @brief Send a no-ack broadcast packet while in sniffer mode
 *
 * Temporarily stops continuous RX, sets the TX address, transmits the packet,
 * then restores the original pipe 0 address and resumes RX.
 *
 * @param packet ESB packet to send (length and data fields must be set)
 * @param address 5-byte TX address to send the packet to
 * @return true if the packet was sent successfully, false otherwise
 */
bool esb_sniffer_send(struct esbPacket_s *packet, uint8_t address[5]);

/**
 * @brief Check if sniffer mode is currently active
 * @return true if sniffer is active
 */
bool esb_sniffer_is_active(void);

/**
 * @brief Set the address for pipe 1 (used by sniffer mode)
 * @param address 5-byte address
 */
void esb_set_address_pipe1(uint8_t address[5]);
```

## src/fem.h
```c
/**
 * ,---------,       ____  _ __
 * |  ,-^-,  |      / __ )(_) /_______________ _____  ___
 * | (  O  ) |     / __  / / __/ ___/ ___/ __ `/_  / / _ \
 * | / ,--´  |    / /_/ / / /_/ /__/ /  / /_/ / / /_/  __/
 *    +------`   /_____/_/\__/\___/_/   \__,_/ /___/\___/
 *
 * Copyright 2023 Bitcraze AB
 *
 * Permission is hereby granted, free of charge, to any person obtaining a copy of this software and associated
 * documentation files (the "Software"), to deal in the Software without restriction, including without limitation the
 * rights to use, copy, modify, merge, publish, distribute, sublicense, and/or sell copies of the Software, and to
 * permit persons to whom the Software is furnished to do so, subject to the following conditions:
 *
 * The above copyright notice and this permission notice shall be included in all copies or substantial portions of the
 * Software.
 *
 * THE SOFTWARE IS PROVIDED "AS IS", WITHOUT WARRANTY OF ANY KIND, EXPRESS OR IMPLIED, INCLUDING BUT NOT LIMITED TO THE
 * WARRANTIES OF MERCHANTABILITY, FITNESS FOR A PARTICULAR PURPOSE AND NONINFRINGEMENT. IN NO EVENT SHALL THE AUTHORS OR
 * COPYRIGHT HOLDERS BE LIABLE FOR ANY CLAIM, DAMAGES OR OTHER LIABILITY, WHETHER IN AN ACTION OF CONTRACT, TORT OR
 * OTHERWISE, ARISING FROM, OUT OF OR IN CONNECTION WITH THE SOFTWARE OR THE USE OR OTHER DEALINGS IN THE SOFTWARE.
 */

#pragma once

#include <stdbool.h>
#include <stdint.h>

void fem_init(void);

void fem_txen_set(bool enable);

void fem_rxen_set(bool enable);

void fem_set_power(uint8_t power);

uint8_t fem_get_power(void);

void fem_set_antenna(uint8_t antenna);

bool fem_is_lna_enabled(void);

bool fem_is_pa_enabled(void);
```
